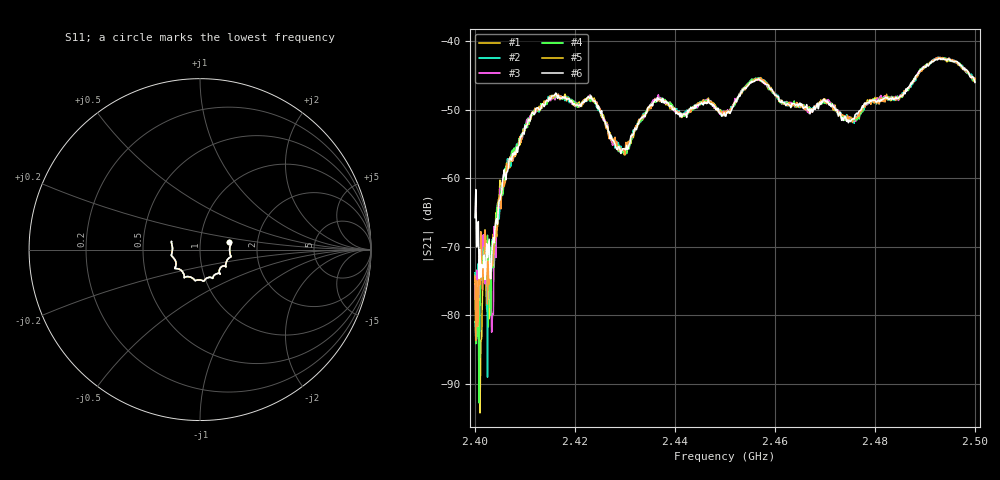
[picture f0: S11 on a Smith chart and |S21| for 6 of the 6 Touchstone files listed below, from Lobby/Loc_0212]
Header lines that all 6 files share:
# Hz S RI R
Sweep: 2.4 GHz to 2.5 GHz
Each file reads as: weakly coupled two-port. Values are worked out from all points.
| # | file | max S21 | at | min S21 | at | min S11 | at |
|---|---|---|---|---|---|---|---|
| 1 | Lab_139_2Ch1.s2p | -42.42 dB | 2.493 GHz | -94.2 dB | 2.401 GHz | -16.0 dB | 2.4862 GHz |
| 2 | Lab_139_3Ch1.s2p | -42.34 dB | 2.4927 GHz | -89.0 dB | 2.4025 GHz | -16.0 dB | 2.4862 GHz |
| 3 | Lab_139_5Ch1.s2p | -42.33 dB | 2.493 GHz | -82.5 dB | 2.4005 GHz | -16.0 dB | 2.4862 GHz |
| 4 | Lab_139_7Ch1.s2p | -42.35 dB | 2.4927 GHz | -92.8 dB | 2.4008 GHz | -16.0 dB | 2.4862 GHz |
| 5 | Lab_139_8Ch1.s2p | -42.35 dB | 2.4925 GHz | -83.7 dB | 2.4002 GHz | -16.0 dB | 2.4862 GHz |
| 6 | Lab_139_9Ch1.s2p | -42.48 dB | 2.4928 GHz | -74.8 dB | 2.402 GHz | -16.0 dB | 2.4862 GHz |
